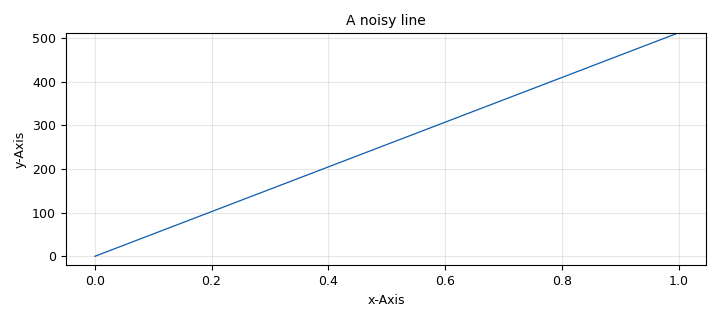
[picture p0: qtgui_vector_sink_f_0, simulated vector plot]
options:
  parameters:
    category: Custom
    generate_options: hb_qt_gui
    id: qtExHier
    output_language: python
    title: QT GUI Vector Sink Example
  states: {}

blocks:
- name: samp_rate
  id: variable
  parameters:
    value: '32000'
  states: {}
- name: veclen
  id: variable
  parameters:
    value: '512'
  states: {}
- name: blocks_stream_to_vector_0
  id: blocks_stream_to_vector
  parameters:
    num_items: '512'
    type: float
  states: {}
- name: blocks_throttle_0
  id: blocks_throttle
  parameters:
    samples_per_second: samp_rate
    type: float
    vlen: veclen
  states: {}
- name: blocks_vector_source_x_0
  id: blocks_vector_source_x
  parameters:
    repeat: 'True'
    type: float
    vector: range(veclen)
    vlen: veclen
  states: {}
- name: pad_source_0
  id: pad_source
  parameters:
    label: help
    type: float
  states: {}
- name: qtgui_vector_sink_f_0
  id: qtgui_vector_sink_f
  parameters:
    grid: 'True'
    name: '"A noisy line"'
    vlen: veclen
    width1: '10'
    x_start: '0'
    x_step: 1.0/veclen
    ymax: '512'
    ymin: '0'
  states: {}
- name: qtgui_vector_sink_f_0_0
  id: qtgui_vector_sink_f
  parameters:
    grid: 'True'
    name: '"A noisy line"'
    vlen: veclen
    width1: '10'
    x_start: '0'
    x_step: 1.0/veclen
    ymax: '512'
    ymin: '0'
  states: {}

connections:
- [blocks_stream_to_vector_0, '0', qtgui_vector_sink_f_0_0, '0']
- [blocks_throttle_0, '0', qtgui_vector_sink_f_0, '0']
- [blocks_vector_source_x_0, '0', blocks_throttle_0, '0']
- [pad_source_0, '0', blocks_stream_to_vector_0, '0']

metadata:
  file_format: 1
